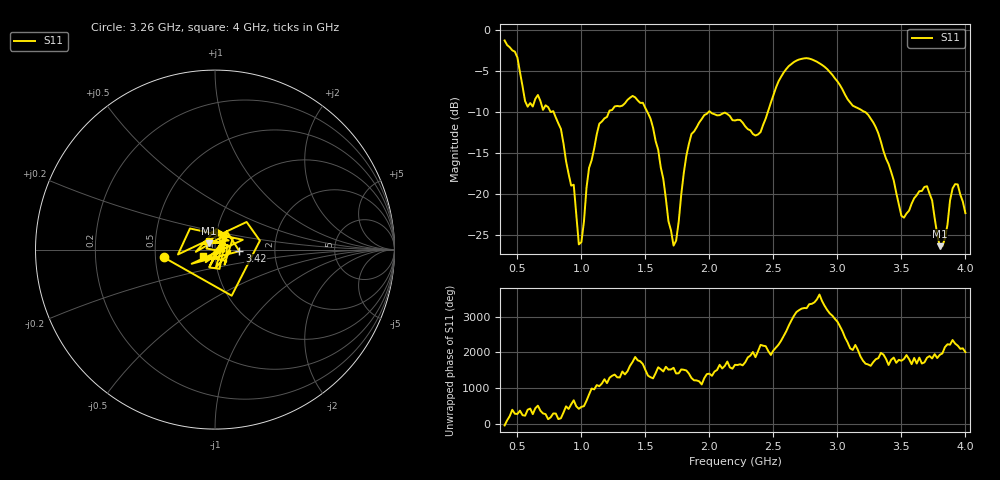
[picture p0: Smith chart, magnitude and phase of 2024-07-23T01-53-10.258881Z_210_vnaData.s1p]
!Created with skrf (http://scikit-rf.org).
# Hz S RI R 50.0
!freq ReS11 ImS11
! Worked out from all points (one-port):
!   181 points, 400 MHz to 4 GHz, reference 50 ohm
!   lowest |S11| = -26.4 dB at 3.8 GHz (marker M1), VSWR 1.10, Z = 46.7 + j3.21 ohm
!   |S11| at or under -10 dB: 1.515 GHz to 1.994 GHz (478.6 MHz wide, 27.3 % of centre); 2.007 GHz to 2.456 GHz (448.8 MHz wide, 20.1 % of centre); 3.216 GHz to end of sweep (the widest 3 of 5)
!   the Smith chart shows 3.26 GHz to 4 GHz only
!   S11 on the Smith chart (normalised r, x): 3.26 GHz: 0.55, -0.05; 3.42 GHz: 1.31, -0.02; 4 GHz: 0.87, -0.07
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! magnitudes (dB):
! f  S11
! 400 MHz  -1.3
! 500 MHz  -3.3
! 580 MHz  -9.3
! 660 MHz  -7.9
! 860 MHz  -13.9
! 940 MHz  -18.9
! 980 MHz  -26.2
! 1.14 GHz  -11.4
! 1.3 GHz  -9.3
! 1.48 GHz  -8.9
! 1.6 GHz  -14.6
! 1.72 GHz  -26.3
! 1.76 GHz  -23.4
! 1.86 GHz  -12.7
! 2 GHz  -9.9
! 2.2 GHz  -11.0
! 2.4 GHz  -12.4
! 2.66 GHz  -3.9
! 2.88 GHz  -4.2
! 3.1 GHz  -8.8
! 3.26 GHz  -10.8
! 3.42 GHz  -17.3
! 3.5 GHz  -22.7
! 3.56 GHz  -22.1
! 3.7 GHz  -19.1
! 3.8 GHz  -26.4
! 3.92 GHz  -18.8
! 4 GHz  -22.4
